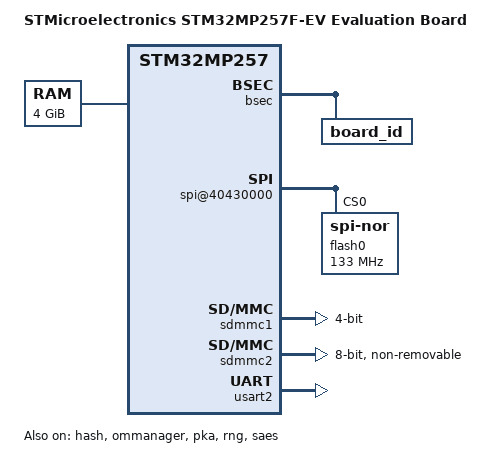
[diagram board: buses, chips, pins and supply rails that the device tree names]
// SPDX-License-Identifier: (GPL-2.0+ OR BSD-3-Clause)
/*
 * Copyright (C) STMicroelectronics 2023 - All Rights Reserved
 * Author: Alexandre Torgue <alexandre.torgue@foss.st.com> for STMicroelectronics.
 */

/dts-v1/;

#include <dt-bindings/clock/stm32mp25-clksrc.h>
#include "stm32mp257.dtsi"
#include "stm32mp25xf.dtsi"
#include "stm32mp257f-ev-ca35tdcid-rcc.dtsi"
#include "stm32mp25-ddr4-2x16Gbits-2x16bits-1200MHz.dtsi"
#include "stm32mp25-pinctrl.dtsi"
#include "stm32mp25xxai-pinctrl.dtsi"

/ {
	model = "STMicroelectronics STM32MP257F-EV Evaluation Board";
	compatible = "st,stm32mp257f-ev", "st,stm32mp257";

	aliases {
		serial0 = &usart2;
	};

	chosen {
		stdout-path = "serial0:115200n8";
	};

	memory@80000000 {
		device_type = "memory";
		reg = <0x0 0x80000000 0x1 0x00000000>;
	};

	shadow-prov {
		compatible = "st,provisioning";

		hconf1_prov {
			nvmem-cells = <&hconf1_otp>;
			st,shadow-value = <0x00018000>;
		};
	};
};

&bsec {
	board_id: board_id@3fc {
		reg = <0x3fc 0x4>;
	};
};

&hash {
	status = "okay";
};

&ommanager {
	pinctrl-names = "default";
	pinctrl-0 = <&ospi1_clk_pins_a
		     &ospi1_io03_pins_a
		     &ospi1_cs0_pins_a>;
	status = "okay";

	spi@40430000 {
		#address-cells = <1>;
		#size-cells = <0>;
		status = "okay";

		flash0: flash@0 {
			compatible = "jedec,spi-nor";
			reg = <0>;
			spi-rx-bus-width = <4>;
			spi-max-frequency = <133000000>;
		};
	};
};

&pka {
	status = "okay";
};

&rng {
	status = "okay";
};

&saes {
	status = "okay";
};

&sdmmc1 {
	pinctrl-names = "default";
	pinctrl-0 = <&sdmmc1_b4_pins_a>;
	st,neg-edge;
	bus-width = <4>;
	status = "okay";
};

&sdmmc2 {
	pinctrl-names = "default";
	pinctrl-0 = <&sdmmc2_b4_pins_a &sdmmc2_d47_pins_a>;
	non-removable;
	no-sd;
	no-sdio;
	st,neg-edge;
	bus-width = <8>;
	status = "okay";
};

&usart2 {
	pinctrl-names = "default";
	pinctrl-0 = <&usart2_pins_a>;
	status = "okay";
};
